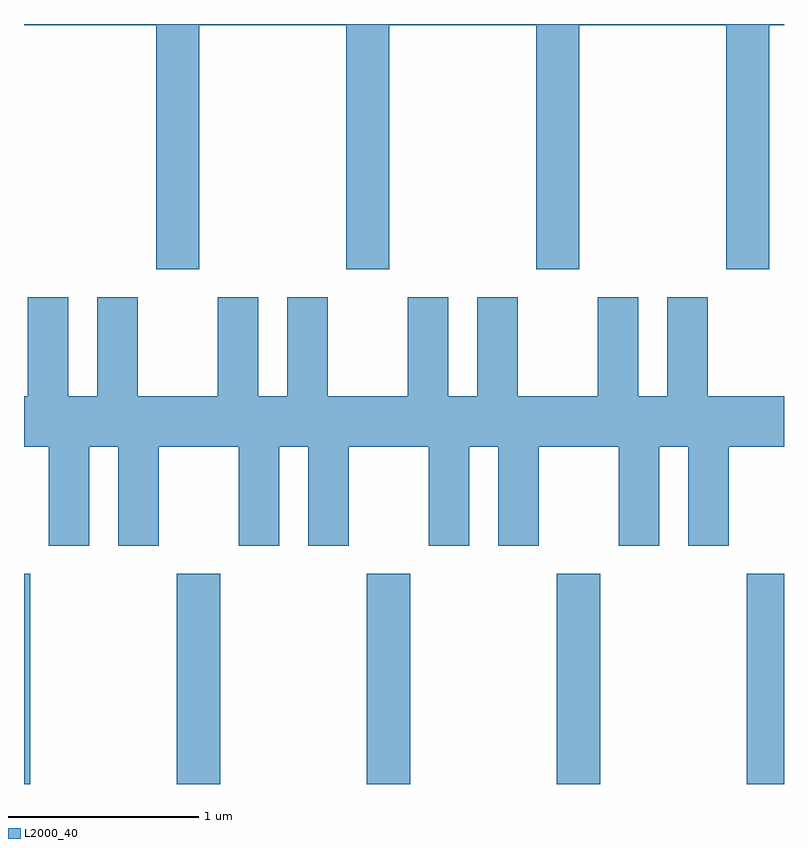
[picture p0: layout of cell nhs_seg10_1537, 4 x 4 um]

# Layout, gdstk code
import gdstk
lib = gdstk.Library(unit=1e-6, precision=1e-09)
def R(c, l, rs):  # rectangles x0, y0, x1, y1
    for r in rs: c.add(gdstk.rectangle(r[:2], r[2:], *l))
def A(c, l, x, y, w, h, nx, ny, dx, dy):  # array of equal rectangles
    R(c, l, [(x+i*dx, y+j*dy, x+i*dx+w, y+j*dy+h) for i in range(nx) for j in range(ny)])
def P(c, l, *ps):  # polygons
    for p in ps: c.add(gdstk.Polygon(p, *l))
L2000_40 = (2000, 40)

nhs_seg10_1537 = lib.new_cell('nhs_seg10_1537')
A(nhs_seg10_1537, L2000_40, 230.416, 2176.522, 0.228, 1.107, 3, 1, 1, 0)
R(nhs_seg10_1537, L2000_40, [(229.611,2176.522,229.644,2177.629), (233.416,2176.522,233.611,2177.629)])
P(nhs_seg10_1537, L2000_40, [(229.611,2180.516),(230.306,2180.516),(230.306,2179.231),(230.534,2179.231),(230.534,2180.516),(231.306,2180.516),(231.306,2179.231),(231.534,2179.231),(231.534,2180.516),(232.306,2180.516),(232.306,2179.231),(232.534,2179.231),(232.534,2180.516),(233.306,2180.516),(233.306,2179.231),(233.534,2179.231),(233.534,2180.516),(233.611,2180.516),(233.611,2180.522),(229.611,2180.522)],
  [(229.954,2178.296),(230.106,2178.296),(230.106,2177.776),(230.319,2177.776),(230.319,2178.296),(230.741,2178.296),(230.741,2177.776),(230.954,2177.776),(230.954,2178.296),(231.106,2178.296),(231.106,2177.776),(231.319,2177.776),(231.319,2178.296),(231.741,2178.296),(231.741,2177.776),(231.954,2177.776),(231.954,2178.296),(232.106,2178.296),(232.106,2177.776),(232.319,2177.776),(232.319,2178.296),(232.741,2178.296),(232.741,2177.776),(232.954,2177.776),(232.954,2178.296),(233.106,2178.296),(233.106,2177.776),(233.319,2177.776),(233.319,2178.296),(233.611,2178.296),(233.611,2178.564),(233.209,2178.564),(233.209,2179.084),(232.996,2179.084),(232.996,2178.564),(232.844,2178.564),(232.844,2179.084),(232.631,2179.084),(232.631,2178.564),(232.209,2178.564),(232.209,2179.084),(231.996,2179.084),(231.996,2178.564),(231.844,2178.564),(231.844,2179.084),(231.631,2179.084),(231.631,2178.564),(231.209,2178.564),(231.209,2179.084),(230.996,2179.084),(230.996,2178.564),(230.844,2178.564),(230.844,2179.084),(230.631,2179.084),(230.631,2178.564),(230.209,2178.564),(230.209,2179.084),(229.996,2179.084),(229.996,2178.564),(229.844,2178.564),(229.844,2179.084),(229.631,2179.084),(229.631,2178.564),(229.611,2178.564),(229.611,2178.296),(229.741,2178.296),(229.741,2177.776),(229.954,2177.776)])

lib.write_gds('nhs_seg10_1537.gds')
